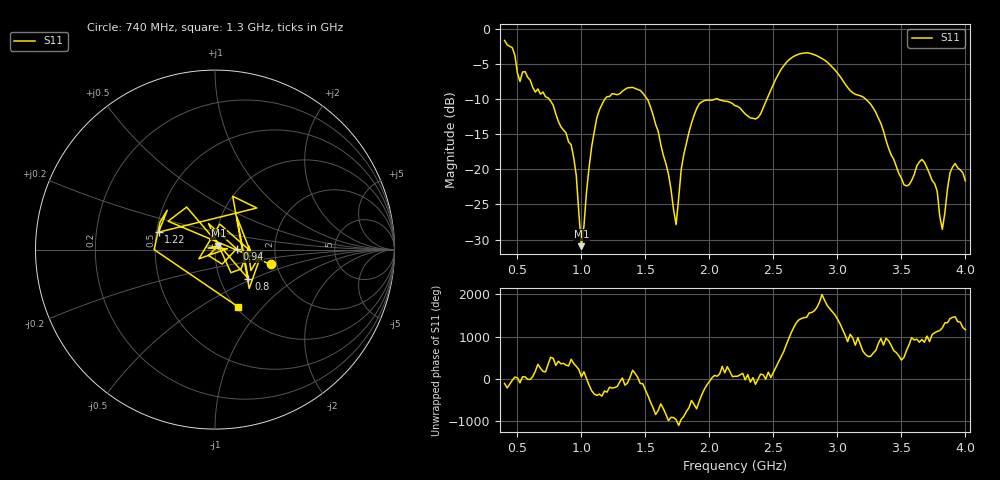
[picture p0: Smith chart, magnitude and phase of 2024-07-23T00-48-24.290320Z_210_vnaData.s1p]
!Created with skrf (http://scikit-rf.org).
# Hz S RI R 50.0
!freq ReS11 ImS11
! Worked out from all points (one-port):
!   181 points, 400 MHz to 4 GHz, reference 50 ohm
!   lowest |S11| = -30.9 dB at 1 GHz (marker M1), VSWR 1.06, Z = 51.8 + j2.23 ohm
!   |S11| at or under -10 dB: 746.8 MHz to 1.184 GHz (437.4 MHz wide, 45.3 % of centre); 1.513 GHz to 2.052 GHz (538.6 MHz wide, 30.2 % of centre); 3.22 GHz to end of sweep (the widest 3 of 4)
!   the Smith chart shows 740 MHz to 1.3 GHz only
!   S11 on the Smith chart (normalised r, x): 740 MHz: 1.86, -0.34; 800 MHz: 1.36, -0.47; 940 MHz: 1.27, +0.01; 1.22 GHz: 0.51, +0.11; 1.3 GHz: 1.03, -0.74
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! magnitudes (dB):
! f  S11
! 400 MHz  -1.7
! 520 MHz  -7.5
! 740 MHz  -9.8
! 800 MHz  -12.1
! 860 MHz  -14.4
! 940 MHz  -18.4
! 1 GHz  -30.9
! 1.12 GHz  -12.7
! 1.22 GHz  -9.7
! 1.3 GHz  -9.3
! 1.52 GHz  -10.2
! 1.68 GHz  -20.7
! 1.74 GHz  -27.9
! 1.76 GHz  -24.1
! 1.8 GHz  -17.9
! 1.92 GHz  -10.7
! 2.2 GHz  -11.0
! 2.38 GHz  -12.6
! 2.66 GHz  -3.9
! 2.9 GHz  -4.5
! 3.1 GHz  -8.8
! 3.28 GHz  -11.3
! 3.56 GHz  -22.2
! 3.68 GHz  -19.0
! 3.78 GHz  -23.1
! 3.82 GHz  -28.5
! 3.9 GHz  -19.7
! 4 GHz  -21.6
